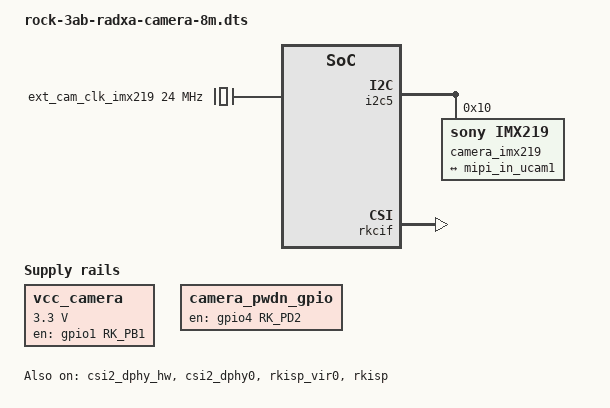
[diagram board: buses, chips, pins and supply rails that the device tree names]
// ROCK 3A/3B Radxa Camera 8M
/dts-v1/;
/plugin/;

#include <dt-bindings/gpio/gpio.h>
#include <dt-bindings/pinctrl/rockchip.h>

/ {
	metadata {
		title = "Enable Radxa Camera 8M 219";
		compatible = "radxa,rock-3a", "radxa,rock-3b";
		category = "camera";
		exclusive = "csi2_dphy0";
		description = "Enable Radxa Camera 8M 219.";
	};
};

&{/} {
	ext_cam_clk_imx219: ext-cam-clk-imx219 {
		status = "okay";
		compatible = "fixed-clock";
		clock-frequency = <24000000>;
		clock-output-names = "ext_cam_clk_imx219";
		#clock-cells = <0>;
	};

	vcc_camera: vcc-camera {
		status = "okay";
		compatible = "regulator-fixed";
		regulator-name = "vcc_camera";
		gpio = <&gpio1 RK_PB1 GPIO_ACTIVE_HIGH>;
		enable-active-high;
		regulator-min-microvolt = <3300000>;
		regulator-max-microvolt = <3300000>;
		regulator-always-on;
		regulator-boot-on;
	};

	camera_pwdn_gpio: camera-pwdn-gpio {
		status = "okay";
		compatible = "regulator-fixed";
		regulator-name = "camera_pwdn_gpio";
		regulator-always-on;
		regulator-boot-on;
		enable-active-high;
		gpio = <&gpio4 RK_PD2 GPIO_ACTIVE_HIGH>;
	};
};

&i2c5 {
	status = "okay";
	pinctrl-names = "default";
	pinctrl-0 = <&i2c5m0_xfer>;
	#address-cells = <1>;
	#size-cells = <0>;

	camera_imx219: camera-imx219@10 {
		status = "okay";
		compatible = "sony,imx219";
		reg = <0x10>;
		clocks = <&ext_cam_clk_imx219>;
		clock-names = "xvclk";
		rockchip,camera-module-index = <0>;
		rockchip,camera-module-facing = "back";
		rockchip,camera-module-name = "RADXA-CAMERA-8M";
		rockchip,camera-module-lens-name = "default";

		port {
			imx219_out: endpoint {
				remote-endpoint = <&mipi_in_ucam1>;
				data-lanes = <1 2>;
			};
		};
	};
};

&csi2_dphy_hw {
	status = "okay";
};

&csi2_dphy0 {
	status = "okay";

	ports {
		#address-cells = <1>;
		#size-cells = <0>;

		port@0 {
			reg = <0>;
			#address-cells = <1>;
			#size-cells = <0>;

			mipi_in_ucam1: endpoint@2 {
				reg = <2>;
				remote-endpoint = <&imx219_out>;
				data-lanes = <1 2>;
			};
		};

		port@1 {
			reg = <1>;
			#address-cells = <1>;
			#size-cells = <0>;

			dphy0_out: endpoint@1 {
				reg = <1>;
				remote-endpoint = <&isp0_in>;
			};
		};
	};
};

&rkisp_vir0 {
	status = "okay";

	port {
		#address-cells = <1>;
		#size-cells = <0>;

		isp0_in: endpoint@0 {
			reg = <0>;
			remote-endpoint = <&dphy0_out>;
		};
	};
};

&rkisp {
	status = "okay";
};

&rkisp_mmu {
	status = "okay";
};

&rkcif_mmu {
	status = "okay";
};

&rkcif {
	status = "okay";
};
